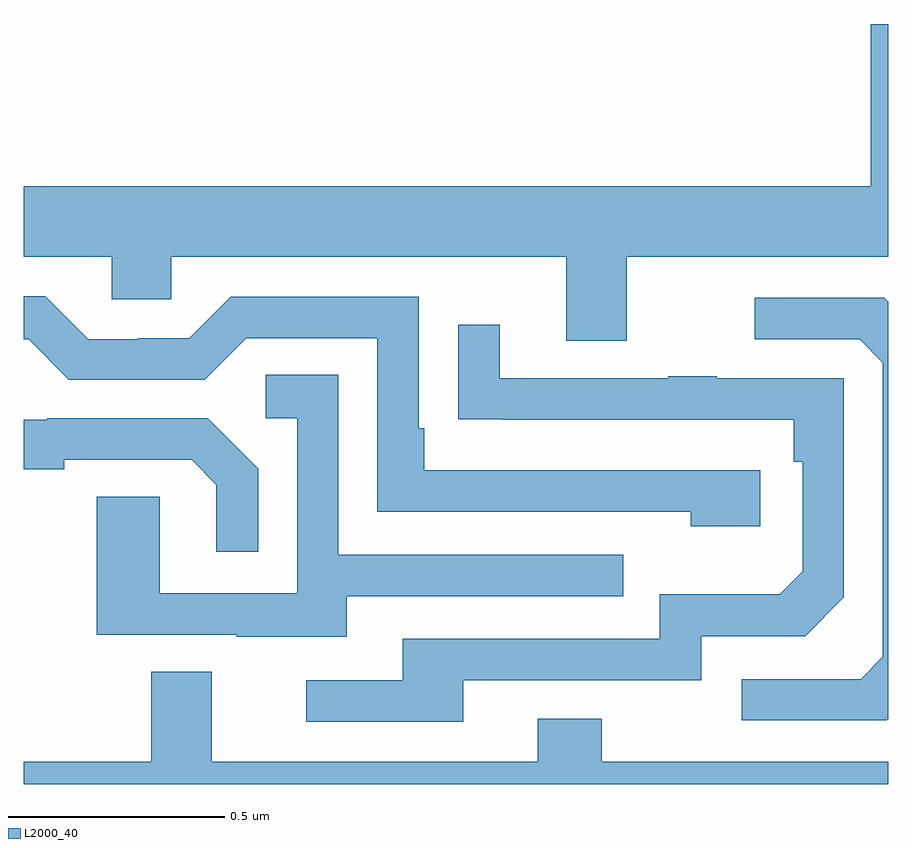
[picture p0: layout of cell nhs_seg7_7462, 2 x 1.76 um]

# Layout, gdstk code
import gdstk
lib = gdstk.Library(unit=1e-6, precision=1e-09)
def P(c, l, *ps):  # polygons
    for p in ps: c.add(gdstk.Polygon(p, *l))
L2000_40 = (2000, 40)

nhs_seg7_7462 = lib.new_cell('nhs_seg7_7462')
P(nhs_seg7_7462, L2000_40, [(212.395,1063.22),(213,1063.22),(213,1063.759),(212.96,1063.759),(212.96,1063.384),(211,1063.384),(211,1063.22),(211.203,1063.22),(211.203,1063.122),(211.341,1063.122),(211.341,1063.22),(212.255,1063.22),(212.255,1063.026),(212.395,1063.026)],
  [(212.704,1062.726),(211.927,1062.726),(211.927,1062.823),(211.914,1062.823),(211.914,1063.128),(211.479,1063.128),(211.383,1063.032),(211.265,1063.032),(211.265,1063.029),(211.149,1063.029),(211.049,1063.129),(211,1063.129),(211,1063.029),(211.011,1063.029),(211.104,1062.936),(211.419,1062.936),(211.515,1063.032),(211.818,1063.032),(211.818,1062.63),(212.543,1062.63),(212.543,1062.596),(212.704,1062.596)],
  [(213,1062.15),(213,1063.116),(212.991,1063.125),(212.691,1063.125),(212.691,1063.029),(212.934,1063.029),(212.988,1062.975),(212.988,1062.294),(212.937,1062.243),(212.661,1062.243),(212.661,1062.147),(212.997,1062.147)],
  [(212.017,1062.24),(212.568,1062.24),(212.568,1062.342),(212.808,1062.342),(212.898,1062.432),(212.898,1062.939),(212.603,1062.939),(212.603,1062.944),(212.491,1062.944),(212.491,1062.939),(212.101,1062.939),(212.101,1063.063),(212.005,1063.063),(212.005,1062.844),(212.107,1062.844),(212.107,1062.843),(212.782,1062.843),(212.782,1062.746),(212.802,1062.746),(212.802,1062.492),(212.749,1062.439),(212.472,1062.439),(212.472,1062.336),(211.877,1062.336),(211.877,1062.24),(211.653,1062.24),(211.653,1062.144),(212.017,1062.144)],
  [(211.747,1062.435),(212.387,1062.435),(212.387,1062.531),(211.728,1062.531),(211.728,1062.947),(211.56,1062.947),(211.56,1062.846),(211.632,1062.846),(211.632,1062.441),(211.314,1062.441),(211.314,1062.665),(211.169,1062.665),(211.169,1062.345),(211.493,1062.345),(211.493,1062.341),(211.747,1062.341)],
  [(211.542,1062.73),(211.426,1062.846),(211.054,1062.846),(211.054,1062.843),(211,1062.843),(211,1062.728),(211.093,1062.728),(211.093,1062.75),(211.388,1062.75),(211.445,1062.693),(211.445,1062.537),(211.542,1062.537)],
  [(212.189,1062.052),(211.435,1062.052),(211.435,1062.26),(211.295,1062.26),(211.295,1062.052),(211,1062.052),(211,1062),(213,1062),(213,1062.052),(212.337,1062.052),(212.337,1062.151),(212.189,1062.151)])

lib.write_gds('nhs_seg7_7462.gds')
